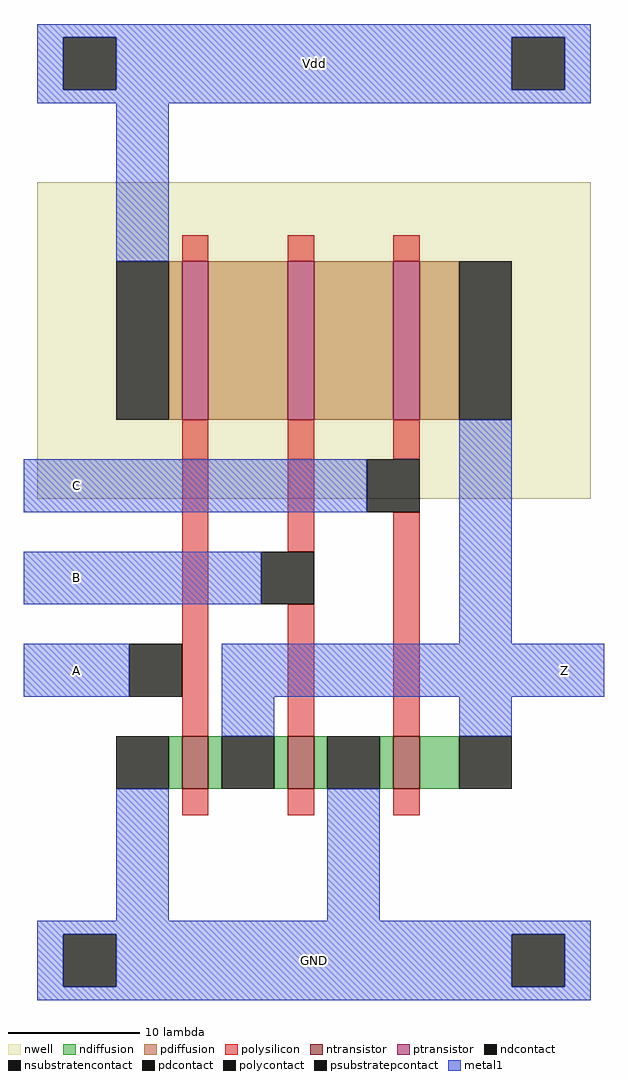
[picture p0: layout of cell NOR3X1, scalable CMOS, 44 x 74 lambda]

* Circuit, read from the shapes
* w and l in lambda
.subckt NOR3X1 A B C GND Vdd Z
M1 Z A GND GND nfet w=4 l=2
M2 GND B Z GND nfet w=4 l=2
M3 Z C GND GND nfet w=4 l=2
M4 n1 A Vdd n2 pfet w=12 l=2
M5 n3 B n1 n2 pfet w=12 l=2
M6 Z C n3 n2 pfet w=12 l=2
.ends

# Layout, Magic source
magic
tech scmos
<< nwell >>
rect 0 -15 42 9
<< ntransistor >>
rect 11 -37 13 -33
rect 19 -37 21 -33
rect 27 -37 29 -33
<< ptransistor >>
rect 11 -9 13 3
rect 19 -9 21 3
rect 27 -9 29 3
<< ndiffusion >>
rect 10 -37 11 -33
rect 13 -37 14 -33
rect 18 -37 19 -33
rect 21 -37 22 -33
rect 26 -37 27 -33
rect 29 -37 32 -33
<< pdiffusion >>
rect 10 -9 11 3
rect 13 -9 19 3
rect 21 -9 27 3
rect 29 -9 32 3
<< ndcontact >>
rect 6 -37 10 -33
rect 14 -37 18 -33
rect 22 -37 26 -33
rect 32 -37 36 -33
<< pdcontact >>
rect 6 -9 10 3
rect 32 -9 36 3
<< psubstratepcontact >>
rect 2 -52 6 -48
rect 36 -52 40 -48
<< nsubstratencontact >>
rect 2 16 6 20
rect 36 16 40 20
<< polysilicon >>
rect 11 3 13 5
rect 19 3 21 5
rect 27 3 29 5
rect 11 -33 13 -9
rect 19 -19 21 -9
rect 27 -12 29 -9
rect 19 -33 21 -23
rect 27 -33 29 -16
rect 11 -39 13 -37
rect 19 -39 21 -37
rect 27 -39 29 -37
<< polycontact >>
rect 7 -30 11 -26
rect 25 -16 29 -12
rect 17 -23 21 -19
<< metal1 >>
rect 0 20 42 21
rect 0 16 2 20
rect 6 16 36 20
rect 40 16 42 20
rect 0 15 42 16
rect 6 3 10 15
rect -1 -16 25 -12
rect -1 -23 17 -19
rect 32 -26 36 -9
rect -1 -30 7 -26
rect 14 -30 43 -26
rect 14 -33 18 -30
rect 32 -33 36 -30
rect 6 -47 10 -37
rect 22 -47 26 -37
rect 0 -48 42 -47
rect 0 -52 2 -48
rect 6 -52 36 -48
rect 40 -52 42 -48
rect 0 -53 42 -52
<< labels >>
rlabel metal1 3 -14 3 -14 3 C
rlabel metal1 3 -21 3 -21 3 B
rlabel metal1 3 -28 3 -28 3 A
rlabel metal1 40 -28 40 -28 7 Z
rlabel metal1 21 -50 21 -50 1 GND
rlabel metal1 21 18 21 18 5 Vdd
<< end >>
